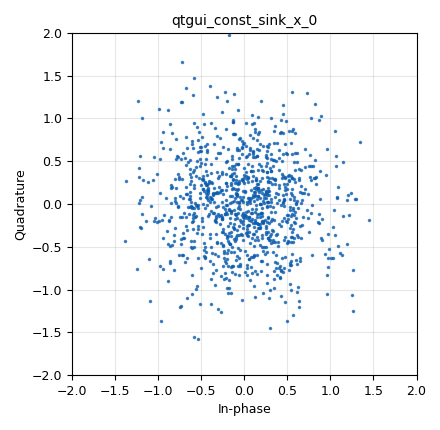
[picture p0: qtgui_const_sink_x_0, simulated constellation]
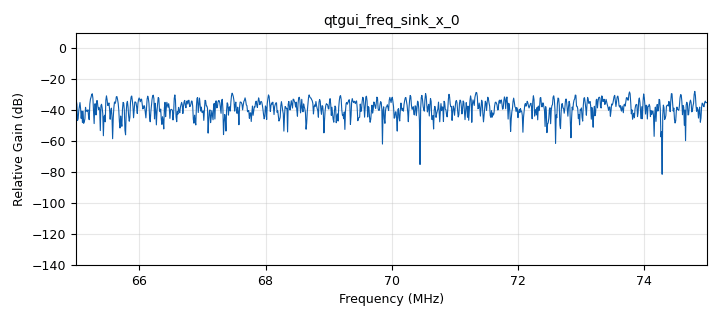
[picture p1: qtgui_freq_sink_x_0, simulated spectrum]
options:
  parameters:
    author: André Løfaldli
    category: Custom
    generate_options: qt_gui
    id: dbpsk_downlink
    output_language: python
    title: DBPSK Downlink
  states: {}

blocks:
- name: antenna
  id: variable_qtgui_chooser
  parameters:
    num_opts: '2'
    option0: RX2
    option1: TX/RX
    type: string
    value: RX2
  states: {}
- name: bpsk
  id: variable_constellation
  parameters:
    const_points: '[-1-1j, -1+1j, 1+1j, 1-1j]'
    dims: '1'
    normalization: digital.constellation.AMPLITUDE_NORMALIZATION
    precision: '8'
    rot_sym: '4'
    sym_map: '[0, 1, 3, 2]'
    type: calcdist
  states: {}
- name: data_rate
  id: variable
  parameters:
    value: int(2e6)
  states: {}
- name: fps
  id: variable
  parameters:
    value: '5'
  states: {}
- name: frames_decoded
  id: variable_function_probe
  parameters:
    block_id: ccsds_decoder
    function_name: num_frames_decoded
    poll_rate: fps
    value: '0'
  states: {}
- name: frames_received
  id: variable_function_probe
  parameters:
    block_id: ccsds_decoder
    function_name: num_frames_received
    poll_rate: fps
    value: '0'
  states: {}
- name: freq
  id: variable
  parameters:
    value: int(70e6)
  states: {}
- name: samp_rate
  id: variable
  parameters:
    value: sps*data_rate
  states: {}
- name: sps
  id: variable
  parameters:
    value: '5'
  states: {}
- name: subframes_decoded
  id: variable_function_probe
  parameters:
    block_id: ccsds_decoder
    function_name: num_subframes_decoded
    poll_rate: fps
    value: '0'
  states: {}
- name: variable_qtgui_label_0_1
  id: variable_qtgui_label
  parameters:
    gui_hint: tab@1:0,0
    label: frames received
    type: raw
    value: frames_received
  states: {}
- name: variable_qtgui_label_0_1_0
  id: variable_qtgui_label
  parameters:
    gui_hint: tab@1:0,1
    label: frames decoded
    type: raw
    value: frames_decoded
  states: {}
- name: variable_qtgui_label_0_1_0_0
  id: variable_qtgui_label
  parameters:
    gui_hint: tab@1:0,2
    label: subframes decoded
    type: raw
    value: subframes_decoded
  states: {}
- name: analog_agc2_xx_0
  id: analog_agc2_xx
  parameters:
    attack_rate: '6e-2'
    decay_rate: '1e-3'
    gain: '1'
    max_gain: '65536'
    reference: '1'
    type: complex
  states: {}
- name: analog_noise_source_x_0
  id: analog_noise_source_x
  parameters:
    amp: '1'
    noise_type: analog.GR_GAUSSIAN
    seed: '0'
    type: complex
  states: {}
- name: blocks_moving_average_xx_0
  id: blocks_moving_average_xx
  parameters:
    length: '1000'
    max_iter: '4000'
    scale: '1e-3'
    type: float
  states: {}
- name: ccsds_decoder
  id: ccsds_ccsds_decoder
  parameters:
    deinterleave: 'True'
    descramble: 'True'
    dual_basis: 'True'
    n_deinterleave: '5'
    printing: 'False'
    rs_decode: 'True'
    threshold: '0'
    verbose: 'False'
  states: {}
- name: digital_clock_recovery_mm_xx_0
  id: digital_clock_recovery_mm_xx
  parameters:
    gain_mu: '0.175'
    gain_omega: 0.25*0.175*0.175
    mu: '0.5'
    omega: sps
    omega_relative_limit: '0.005'
    type: complex
  states: {}
- name: digital_constellation_decoder_cb_0
  id: digital_constellation_decoder_cb
  parameters:
    constellation: bpsk
  states: {}
- name: digital_costas_loop_cc_0
  id: digital_costas_loop_cc
  parameters:
    order: '2'
    w: 6.28/100
  states: {}
- name: digital_diff_decoder_bb_0
  id: digital_diff_decoder_bb
  parameters:
    coding: digital.DIFF_DIFFERENTIAL
    modulus: '2'
  states: {}
- name: qtgui_const_sink_x_0
  id: qtgui_const_sink_x
  parameters:
    gui_hint: tab@0:0,1
    legend: 'False'
    size: '1024'
    type: complex
    update_time: 1.0/fps
  states: {}
- name: qtgui_freq_sink_x_0
  id: qtgui_freq_sink_x
  parameters:
    bw: samp_rate
    fc: freq
    fftsize: '1024'
    gui_hint: tab@0:0,0
    legend: 'False'
    showports: 'True'
    type: complex
    update_time: 1.0/fps
  states: {}
- name: qtgui_number_sink_1
  id: qtgui_number_sink
  parameters:
    factor1: 1.0*samp_rate/sps * 1.0/6.28
    graph_type: qtgui.NUM_GRAPH_HORIZ
    gui_hint: tab@1
    label1: doppler
    max: 0.5*samp_rate/sps
    min: '-0.5*samp_rate/sps'
    type: float
    unit1: Hz
    update_time: 1.0/fps
  states: {}
- name: tab
  id: qtgui_tab_widget
  parameters:
    gui_hint: 0,0,1,2
    label0: fft/const
    label1: stats
    num_tabs: '2'
  states: {}
- name: uhd_usrp_source_0
  id: uhd_usrp_source
  parameters:
    ant0: antenna
    center_freq0: freq
    clock_rate: '0.0'
    dev_args: '""'
    gain0: '0'
    samp_rate: samp_rate
    sync: sync
    type: fc32
  states: {state: disabled}

connections:
- [analog_agc2_xx_0, '0', digital_clock_recovery_mm_xx_0, '0']
- [analog_noise_source_x_0, '0', analog_agc2_xx_0, '0']
- [analog_noise_source_x_0, '0', qtgui_freq_sink_x_0, '0']
- [blocks_moving_average_xx_0, '0', qtgui_number_sink_1, '0']
- [digital_clock_recovery_mm_xx_0, '0', digital_costas_loop_cc_0, '0']
- [digital_constellation_decoder_cb_0, '0', digital_diff_decoder_bb_0, '0']
- [digital_costas_loop_cc_0, '0', digital_constellation_decoder_cb_0, '0']
- [digital_costas_loop_cc_0, '0', qtgui_const_sink_x_0, '0']
- [digital_costas_loop_cc_0, '1', blocks_moving_average_xx_0, '0']
- [digital_diff_decoder_bb_0, '0', ccsds_decoder, '0']
- [uhd_usrp_source_0, '0', analog_agc2_xx_0, '0']
- [uhd_usrp_source_0, '0', qtgui_freq_sink_x_0, '0']

metadata:
  file_format: 1
  grc_version: v3.11.0.0git-55-g8526e6f8
